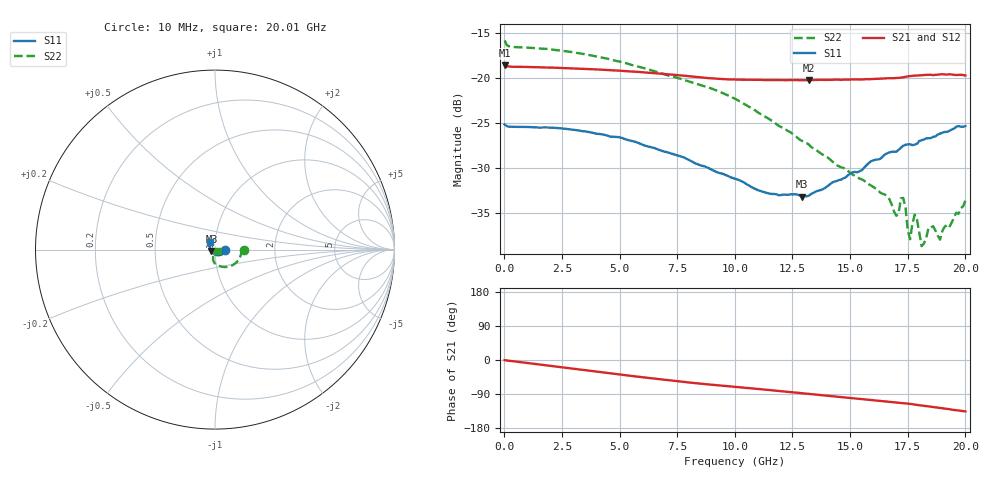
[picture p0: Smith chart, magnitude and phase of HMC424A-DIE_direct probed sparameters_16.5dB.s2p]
!s2p File: Measurements: S11, S21, S12, S22
# GHz S dB R 50.0
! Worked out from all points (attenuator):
!   201 points, 10 MHz to 20.01 GHz, reference 50 ohm
!   highest |S21| = -18.58 dB at 10 MHz (marker M1); lowest = -20.3 dB at 13.21 GHz (marker M2)
!   lowest |S11| = -33.1 dB at 12.91 GHz (marker M3), VSWR 1.05, Z = 48.1 - j0.95 ohm
!   |S11| at or under -10 dB: start of sweep to end of sweep
!   |S22| runs from -38.6 to -15.8 dB; largest |S21 - S12| = 0.0011
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0.01  -25.14 -0.1  -18.58 -0.4  -18.58 -0.4  -15.85 -1.5
3.41  -25.90 -24.1  -18.99 -26.5  -18.98 -26.4  -17.34 -35.0
6.71  -27.97 -51.8  -19.51 -50.6  -19.50 -50.6  -19.40 -64.5
10.01  -31.16 -92.1  -20.18 -70.8  -20.18 -70.8  -22.30 -90.6
11.41  -32.75 -119.5  -20.23 -78.7  -20.22 -78.8  -24.42 -99.3
12.91  -33.13 -153.4  -20.24 -87.6  -20.23 -87.6  -26.96 -103.7
13.21  -33.05 -159.7  -20.27 -89.5  -20.27 -89.3  -27.36 -104.1
13.41  -32.74 -164.9  -20.23 -90.5  -20.24 -90.5  -27.80 -104.3
16.71  -28.25 141.7  -20.03 -110.5  -20.00 -110.5  -33.42 -100.0
17.01  -28.17 139.9  -20.00 -112.3  -19.94 -112.4  -35.27 -91.8
17.11  -27.97 139.8  -20.00 -112.9  -19.93 -113.0  -35.00 -83.5
17.21  -27.73 139.4  -19.96 -113.5  -19.92 -113.7  -33.33 -84.5
17.31  -27.51 138.0  -19.94 -114.0  -19.93 -114.3  -33.29 -93.0
17.61  -27.35 133.6  -19.80 -115.8  -19.84 -116.4  -37.86 -84.5
17.81  -27.39 132.5  -19.75 -117.6  -19.78 -117.8  -35.12 -77.3
18.11  -26.90 129.3  -19.70 -120.1  -19.75 -119.9  -38.63 -77.5
18.41  -26.67 126.7  -19.66 -122.4  -19.69 -122.4  -36.58 -58.3
18.61  -26.52 126.7  -19.69 -124.1  -19.67 -123.9  -36.42 -59.6
18.91  -26.17 125.5  -19.61 -126.6  -19.61 -126.4  -37.91 -48.3
19.11  -25.98 125.0  -19.61 -128.1  -19.63 -128.1  -36.48 -42.5
19.31  -25.88 124.7  -19.59 -129.8  -19.58 -129.8  -36.52 -39.0
20.01  -25.34 123.8  -19.73 -135.7  -19.72 -135.6  -33.59 -29.5
